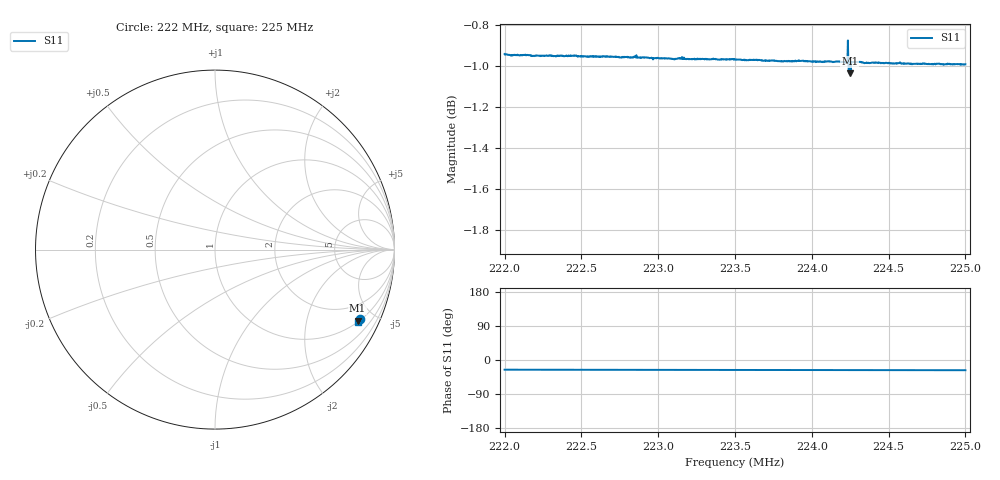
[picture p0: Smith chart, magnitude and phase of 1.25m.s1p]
! Calibrated averaged scanner-service zoom
# Hz S RI R 50
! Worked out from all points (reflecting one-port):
!   1001 points, 222 MHz to 225 MHz, reference 50 ohm
!   lowest |S11| = -1.0 dB at 224.25 MHz (marker M1), VSWR 16.76, Z = 53.5 - j199 ohm
!   phase of S11 starts at -26 deg and turns -1 deg over the sweep
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2.22e8  0.8092 -0.3873
2.22042e8  0.8084 -0.387
2.22375e8  0.8074 -0.3892
2.2275e8  0.8052 -0.3916
2.22924e8  0.8045 -0.3929
2.23125e8  0.8035 -0.3935
2.23266e8  0.8029 -0.3943
2.235e8  0.8019 -0.396
2.23875e8  0.7999 -0.3978
2.23929e8  0.8 -0.3982
2.24172e8  0.799 -0.3996
2.24214e8  0.7982 -0.3999
2.24217e8  0.7985 -0.3999
2.2422e8  0.7984 -0.3997
2.24223e8  0.7982 -0.3998
2.24232e8  0.799 -0.3996
2.24238e8  0.7985 -0.4002
2.24247e8  0.7943 -0.3956
2.2425e8  0.7985 -0.4002
2.24253e8  0.7929 -0.3989
2.24256e8  0.7981 -0.3991
2.24268e8  0.7984 -0.4003
2.24271e8  0.7982 -0.4004
2.24307e8  0.7982 -0.4009
2.24349e8  0.7976 -0.4006
2.24403e8  0.7976 -0.4013
2.24625e8  0.7967 -0.402
2.25e8  0.795 -0.4044
